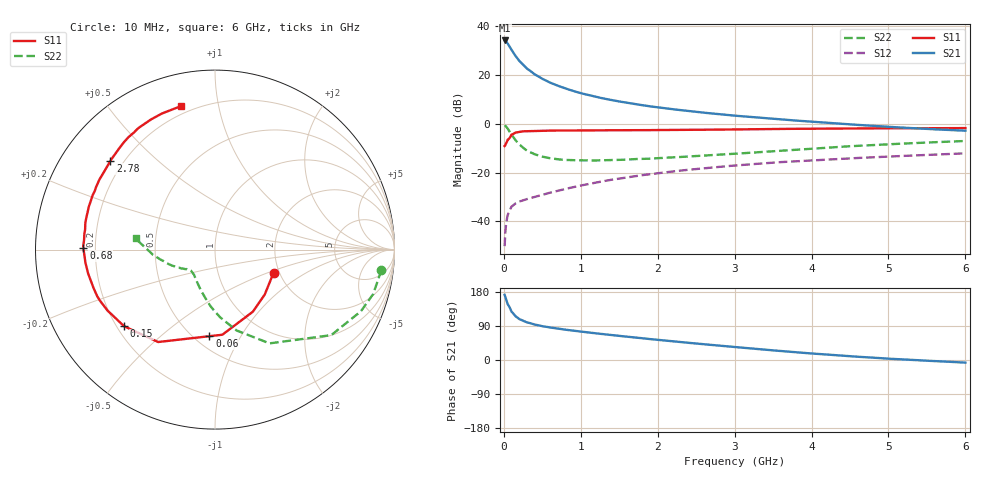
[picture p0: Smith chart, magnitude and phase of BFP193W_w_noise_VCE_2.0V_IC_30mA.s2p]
! Infineon Technologies  Discrete & RF Semiconductors
! BFP193W
! VCE = 2.0 V,  IC =  30 mA
! Common Emitter S-Parameters:  Jan 2016
# GHz  S  MA  R  50
!  f  S11  S21  S12  S22
! GHz  MAG  ANG  MAG  ANG  MAG  ANG  MAG  ANG
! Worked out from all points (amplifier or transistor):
!   210 points, 10 MHz to 6 GHz, reference 50 ohm
!   highest |S21| = 34.3 dB at 10 MHz (marker M1)
!   |S21| within 3 dB of that: start of sweep to 82.7 MHz
!   unconditionally stable (mu >= 1): 753.4 MHz to 3.998 GHz; 4.024 GHz to 4.219 GHz
!   at 185 MHz: K = 0.44, MSG = 29.3 dB, |S12| = -32.1 dB
!   at 1.52 GHz: K = 1.13, MAG = 13.5 dB, |S12| = -22.3 dB
!   at 6 GHz: K = 0.93, MSG = 4.6 dB, |S12| = -12.1 dB
!   lowest NFmin = 1.90 dB at 450 MHz
!   S11 on the Smith chart (normalised r, x): 10 MHz: 1.87, -0.55; 60 MHz: 0.59, -0.74; 150 MHz: 0.23, -0.35; 680 MHz: 0.15, +0.01; 2.78 GHz: 0.15, +0.36; 6 GHz: 0.16, +0.78
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0.01  0.3509 -21.5  51.59 172.1  0.0031 82.9  0.934 -7.0
0.02  0.3733 -42.0  50.75 165.9  0.0062 75.6  0.9156 -15.7
0.03  0.4052 -58.6  49.18 159.3  0.009 72.8  0.8825 -22.9
0.05  0.4761 -85.1  44.56 147.4  0.0135 63.9  0.8043 -36.3
0.06  0.4835 -93.7  41.93 144.3  0.0147 59.9  0.7559 -40.0
0.1  0.6046 -121.6  33.11 127.4  0.0201 49.1  0.6045 -59.8
0.15  0.6625 -139.9  24.99 115.4  0.0233 42.7  0.4667 -75.0
0.2  0.6883 -150.4  19.69 108.1  0.0255 41.3  0.3795 -85.5
0.24  0.7011 -156.0  16.91 104.2  0.0267 41.3  0.3353 -91.5
0.3  0.7095 -162.2  13.67 99.3  0.0288 42.4  0.2835 -99.8
0.4  0.7193 -169.3  10.43 93.5  0.0317 44.5  0.2386 -109.5
0.5  0.7256 -174.2  8.428 89.2  0.0349 47.7  0.2133 -116.8
0.68  0.7333 179.3  6.283 83.5  0.0418 51.7  0.1898 -125.9
0.8  0.7314 175.9  5.327 80.0  0.0463 53.6  0.1824 -130.0
1.02  0.733 170.8  4.198 74.6  0.0552 56.5  0.1786 -135.8
1.4  0.7403 163.2  3.087 65.8  0.0715 58.1  0.1818 -141.3
2.02  0.7488 152.1  2.169 52.9  0.0983 57.2  0.1991 -146.8
2.78  0.7643 139.8  1.596 38.3  0.1308 53.5  0.2332 -154.6
3.1  0.7732 134.8  1.435 32.6  0.1439 51.3  0.2498 -158.6
4.1  0.8012 121.1  1.084 15.9  0.1823 44.2  0.3167 -171.0
5.1  0.8138 110.6  0.854 2.5  0.2173 37.5  0.3892 178.3
6  0.8215 103.5  0.726 -6.9  0.2493 31.9  0.4465 171.8
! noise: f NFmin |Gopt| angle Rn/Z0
0.45  1.9  0.4  180  0.09
0.9  1.95  0.43  -173  0.11
1.8  2.4  0.58  -144  0.24
